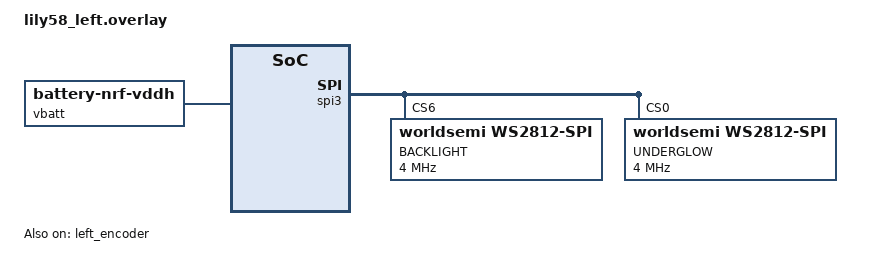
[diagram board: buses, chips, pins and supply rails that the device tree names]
/*
 * Copyright (c) 2020 Pete Johanson
 *
 * SPDX-License-Identifier: MIT
 */

#include "lily58.dtsi"

&kscan0 {
    col-gpios
        = <&pro_micro 19 GPIO_ACTIVE_HIGH>
        , <&pro_micro 18 GPIO_ACTIVE_HIGH>
        , <&pro_micro 15 GPIO_ACTIVE_HIGH>
        , <&pro_micro 14 GPIO_ACTIVE_HIGH>
        , <&pro_micro 16 GPIO_ACTIVE_HIGH>
        , <&pro_micro 10 GPIO_ACTIVE_HIGH>
        ;
};

&left_encoder {
    status = "okay";
};

&spi3 {
	compatible = "nordic,nrf-spim";
	status = "okay";

	pinctrl-0 = <&spi3_default>;
	pinctrl-1 = <&spi3_sleep>;
	pinctrl-names = "default", "sleep";


    backlight_leds: ws2812_backlight@6 {
        compatible = "worldsemi,ws2812-spi";
        label = "BACKLIGHT";
        reg = <6>;                   /* start index in the chain */
        spi-max-frequency = <4000000>;
        chain-length = <30>;          /* 36 total - 6 underglow = 30 LEDs */
        spi-one-frame = <0x70>;
        spi-zero-frame = <0x40>;
        color-mapping = <LED_COLOR_ID_GREEN LED_COLOR_ID_RED LED_COLOR_ID_BLUE>;
    };

    underglow_leds: ws2812_underglow@0 {
        compatible = "worldsemi,ws2812-spi";
        label = "UNDERGLOW";
        reg = <0>;                    /* start index */
        spi-max-frequency = <4000000>;
        chain-length = <6>;            /* first 6 LEDs */
        spi-one-frame = <0x70>;
        spi-zero-frame = <0x40>;
        color-mapping = <LED_COLOR_ID_GREEN LED_COLOR_ID_RED LED_COLOR_ID_BLUE>;
    };
};

/ {
    chosen {
      zmk,battery = &vbatt;
      zmk,backlight = &backlight_leds;
      zmk,underglow = &underglow_leds;
    };

    vbatt: vbatt {
        compatible = "zmk,battery-nrf-vddh";
    };
};

